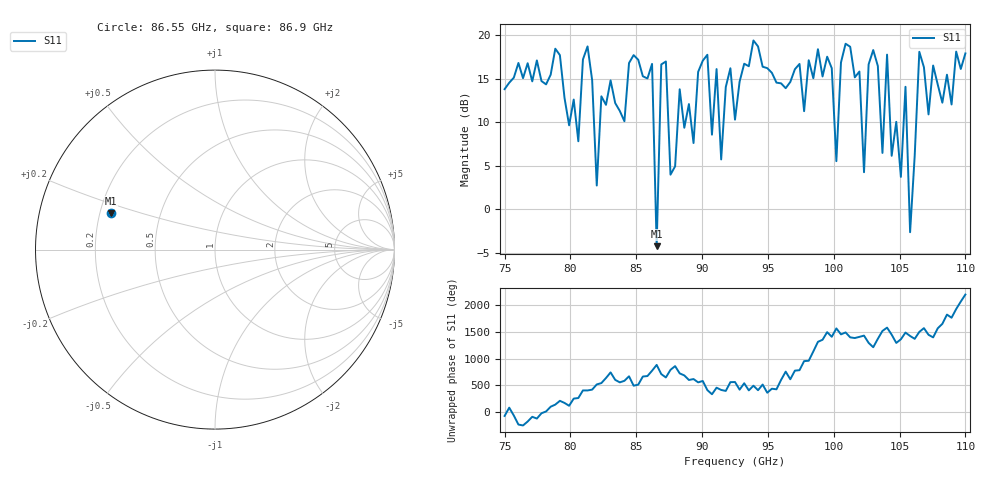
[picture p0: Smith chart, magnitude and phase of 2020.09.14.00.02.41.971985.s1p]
!Created with skrf (http://scikit-rf.org).
# GHz S RI R 50.0
!freq ReS11 ImS11
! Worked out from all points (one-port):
!   101 points, 75 GHz to 110 GHz, reference 50 ohm
!   lowest |S11| = -4.3 dB at 86.55 GHz (marker M1), VSWR 4.16, Z = 12.3 + j8.02 ohm
!   |S11| at or under -10 dB: nowhere
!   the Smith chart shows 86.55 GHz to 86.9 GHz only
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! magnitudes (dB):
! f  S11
! 75 GHz  13.8
! 79.55 GHz  12.8
! 80.6 GHz  7.8
! 81.3 GHz  18.7
! 82 GHz  2.7
! 82.35 GHz  13.0
! 83.75 GHz  11.3
! 86.2 GHz  16.7
! 86.55 GHz  -4.3
! 86.9 GHz  16.7
! 87.6 GHz  4.0
! 88.3 GHz  13.8
! 92.5 GHz  10.3
! 93.9 GHz  19.4
! 97.05 GHz  16.1
! 99.5 GHz  17.6
! 100.2 GHz  5.5
! 101.2 GHz  18.7
! 102.3 GHz  4.3
! 103 GHz  18.3
! 103.7 GHz  6.5
! 104 GHz  17.8
! 105.1 GHz  3.7
! 105.5 GHz  14.1
! 105.8 GHz  -2.7
! 106.5 GHz  18.1
! 107.2 GHz  10.9
! 110 GHz  17.9
